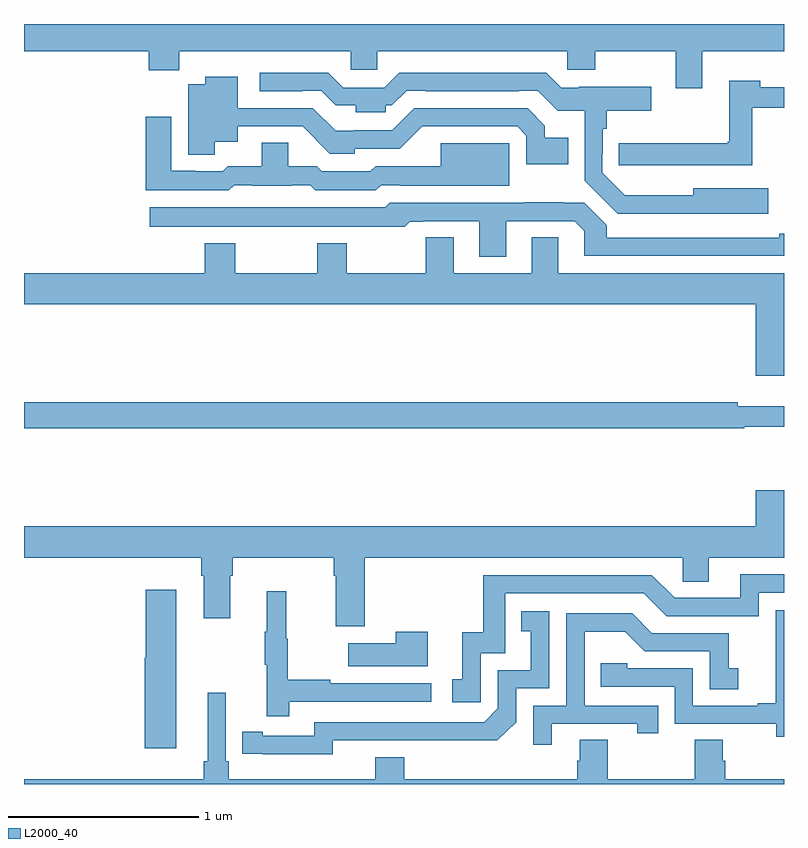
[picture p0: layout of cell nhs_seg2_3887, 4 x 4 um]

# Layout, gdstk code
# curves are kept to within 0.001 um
import gdstk
lib = gdstk.Library(unit=1e-6, precision=1e-09)
def P(c, l, *ps):  # polygons
    for p in ps: c.add(gdstk.Polygon(p, *l))
L2000_40 = (2000, 40)

nhs_seg2_3887 = lib.new_cell('nhs_seg2_3887')
P(nhs_seg2_3887, L2000_40, [(320.569,627.656),(321,627.656),(321,627.8),(317,627.8),(317,627.656),(317.657,627.656),(317.657,627.557),(317.817,627.557),(317.817,627.656),(318.72,627.656),(318.72,627.558),(318.858,627.558),(318.858,627.656),(319.86,627.656),(319.86,627.558),(320.007,627.558),(320.007,627.656),(320.429,627.656),(320.429,627.462),(320.569,627.462)],
  [(320.917,626.935),(320.522,626.935),(320.522,626.899),(320.163,626.899),(320.043,627.018),(320.043,627.118),(320.046,627.118),(320.046,627.248),(320.066,627.248),(320.066,627.344),(320.302,627.344),(320.302,627.469),(319.921,627.469),(319.921,627.465),(319.827,627.465),(319.748,627.544),(318.976,627.544),(318.897,627.465),(318.681,627.465),(318.602,627.544),(318.24,627.544),(318.24,627.447),(318.464,627.447),(318.464,627.45),(318.564,627.45),(318.642,627.372),(318.746,627.372),(318.746,627.336),(318.903,627.336),(318.903,627.372),(318.936,627.372),(319.014,627.45),(319.114,627.45),(319.114,627.447),(319.604,627.447),(319.604,627.45),(319.704,627.45),(319.81,627.344),(319.95,627.344),(319.95,626.976),(320.125,626.801),(320.917,626.801)],
  [(319.865,627.202),(319.742,627.202),(319.742,627.265),(319.65,627.357),(319.055,627.357),(318.938,627.24),(318.736,627.24),(318.736,627.237),(318.64,627.237),(318.52,627.357),(318.124,627.357),(318.124,627.523),(317.954,627.523),(317.954,627.484),(317.864,627.484),(317.864,627.113),(318.004,627.113),(318.004,627.179),(318.124,627.179),(318.124,627.261),(318.468,627.261),(318.537,627.192),(318.535,627.19),(318.608,627.117),(318.741,627.117),(318.741,627.144),(318.978,627.144),(319.095,627.261),(319.596,627.261),(319.644,627.213),(319.644,627.062),(319.865,627.062)],
  [(320.833,627.36),(321,627.36),(321,627.468),(320.876,627.468),(320.876,627.502),(320.712,627.502),(320.712,627.18),(320.704,627.18),(320.704,627.172),(320.131,627.172),(320.131,627.056),(320.833,627.056)],
  [(318.106,626.952),(318.202,626.952),(318.202,626.948),(318.41,626.948),(318.41,626.952),(318.506,626.952),(318.534,626.924),(318.852,626.925),(318.879,626.952),(318.979,626.952),(318.979,626.948),(319.555,626.948),(319.555,627.172),(319.193,627.172),(319.193,627.052),(318.85,627.052),(318.822,627.024),(318.567,627.024),(318.54,627.051),(318.39,627.051),(318.39,627.176),(318.251,627.176),(318.251,627.052),(318.073,627.052),(318.045,627.024),(317.9,627.024),(317.9,627.028),(317.776,627.028),(317.776,627.313),(317.642,627.313),(317.642,626.924),(318.078,626.924)],
  [(319.537,626.763),(319.899,626.763),(319.949,626.713),(319.949,626.58),(321,626.58),(321,626.696),(320.975,626.696),(320.975,626.676),(320.066,626.676),(320.066,626.74),(319.948,626.858),(319.838,626.858),(319.838,626.861),(319.633,626.861),(319.633,626.859),(318.924,626.859),(318.901,626.836),(317.661,626.836),(317.661,626.732),(319.003,626.732),(319.029,626.758),(319.099,626.758),(319.099,626.763),(319.397,626.763),(319.397,626.574),(319.537,626.574)],
  [(321,626.488),(319.813,626.488),(319.813,626.678),(319.673,626.678),(319.673,626.488),(319.261,626.488),(319.261,626.678),(319.114,626.678),(319.114,626.488),(318.699,626.488),(318.699,626.647),(318.544,626.647),(318.544,626.488),(318.111,626.488),(318.111,626.647),(317.951,626.647),(317.951,626.488),(317,626.488),(317,626.324),(320.852,626.324),(320.852,625.95),(321,625.95)],
  [(320.792,625.68),(321,625.68),(321,625.789),(320.756,625.789),(320.756,625.808),(317,625.808),(317,625.672),(320.792,625.672)],
  [(318.794,624.992),(320.466,624.992),(320.466,624.865),(320.605,624.865),(320.605,624.992),(321,624.992),(321,625.345),(320.852,625.345),(320.852,625.156),(317,625.156),(317,624.992),(317.933,624.992),(317.933,624.896),(317.945,624.896),(317.945,624.672),(318.085,624.672),(318.085,624.896),(318.098,624.896),(318.098,624.992),(318.629,624.992),(318.629,624.896),(318.641,624.896),(318.641,624.63),(318.794,624.63)],
  [(319.404,624.489),(319.533,624.489),(319.533,624.804),(320.262,624.804),(320.382,624.684),(320.868,624.684),(320.868,624.807),(321,624.807),(321,624.903),(320.771,624.903),(320.771,624.78),(320.424,624.78),(320.304,624.9),(319.417,624.9),(319.417,624.598),(319.307,624.598),(319.307,624.351),(319.254,624.351),(319.254,624.231),(319.404,624.231)],
  [(317.8,624.823),(317.642,624.823),(317.642,624.465),(317.636,624.465),(317.636,623.988),(317.8,623.988)],
  [(318.395,624.234),(319.144,624.234),(319.144,624.33),(318.611,624.33),(318.611,624.35),(318.388,624.35),(318.388,624.564),(318.38,624.564),(318.38,624.814),(318.278,624.814),(318.278,624.601),(318.267,624.601),(318.267,624.427),(318.278,624.427),(318.278,624.156),(318.395,624.156)],
  [(321,624.715),(320.956,624.715),(320.956,624.509),(320.957,624.509),(320.957,624.226),(320.861,624.226),(320.861,624.213),(320.52,624.213),(320.52,624.408),(320.175,624.408),(320.175,624.435),(320.035,624.435),(320.035,624.312),(320.424,624.312),(320.424,624.117),(320.958,624.117),(320.958,624.049),(321,624.049)],
  [(318.624,624.03),(319.492,624.029),(319.59,624.126),(319.59,624.303),(319.764,624.303),(319.764,624.709),(319.618,624.709),(319.618,624.603),(319.667,624.603),(319.667,624.399),(319.494,624.399),(319.494,624.198),(319.422,624.126),(318.528,624.126),(318.528,624.054),(318.256,624.054),(318.256,624.074),(318.148,624.074),(318.148,623.958),(318.624,623.957)],
  [(319.777,624.117),(320.228,624.117),(320.228,624.066),(320.339,624.066),(320.339,624.213),(319.95,624.213),(319.95,624.602),(320.164,624.602),(320.268,624.498),(320.61,624.498),(320.61,624.3),(320.758,624.3),(320.758,624.409),(320.709,624.409),(320.709,624.594),(320.305,624.594),(320.2,624.699),(319.854,624.699),(319.854,624.213),(319.68,624.213),(319.68,624.006),(319.777,624.006)],
  [(319.126,624.601),(318.956,624.601),(318.956,624.541),(318.707,624.541),(318.707,624.419),(319.126,624.419)],
  [(321,623.824),(320.69,623.824),(320.69,623.922),(320.677,623.922),(320.677,624.032),(320.53,624.032),(320.53,623.824),(320.073,623.824),(320.073,624.032),(319.925,624.032),(319.925,623.922),(319.913,623.922),(319.913,623.824),(319.001,623.824),(319.001,623.941),(318.848,623.941),(318.848,623.824),(318.077,623.824),(318.077,623.92),(318.063,623.92),(318.063,624.28),(317.966,624.28),(317.966,623.92),(317.947,623.92),(317.947,623.824),(317,623.824),(317,623.8),(321,623.8)])

lib.write_gds('nhs_seg2_3887.gds')
